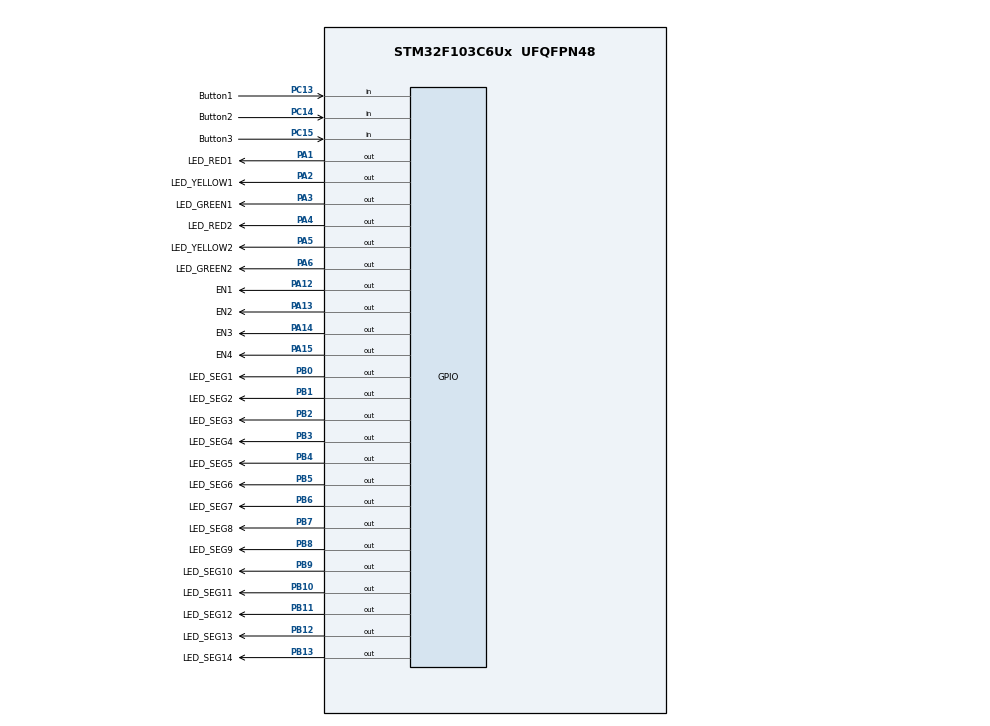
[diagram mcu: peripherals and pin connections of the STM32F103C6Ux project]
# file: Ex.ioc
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Mcu.Family=STM32F1
Mcu.Name=STM32F103C6Ux
Mcu.Package=UFQFPN48
NVIC.PriorityGroup=NVIC_PRIORITYGROUP_4
NVIC.TIM2_IRQn=true\:0\:0\:false\:false\:true\:true\:true
PA1.GPIO_Label=LED_RED1
PA1.Signal=GPIO_Output
PA12.GPIO_Label=EN1
PA12.Signal=GPIO_Output
PA13.GPIO_Label=EN2
PA13.Signal=GPIO_Output
PA14.GPIO_Label=EN3
PA14.Signal=GPIO_Output
PA15.GPIO_Label=EN4
PA15.Signal=GPIO_Output
PA2.GPIO_Label=LED_YELLOW1
PA2.Signal=GPIO_Output
PA3.GPIO_Label=LED_GREEN1
PA3.Signal=GPIO_Output
PA4.GPIO_Label=LED_RED2
PA4.Signal=GPIO_Output
PA5.GPIO_Label=LED_YELLOW2
PA5.Signal=GPIO_Output
PA6.GPIO_Label=LED_GREEN2
PA6.Signal=GPIO_Output
PB0.GPIO_Label=LED_SEG1
PB0.Signal=GPIO_Output
PB1.GPIO_Label=LED_SEG2
PB1.Signal=GPIO_Output
PB10.GPIO_Label=LED_SEG11
PB10.Signal=GPIO_Output
PB11.GPIO_Label=LED_SEG12
PB11.Signal=GPIO_Output
PB12.GPIO_Label=LED_SEG13
PB12.Signal=GPIO_Output
PB13.GPIO_Label=LED_SEG14
PB13.Signal=GPIO_Output
PB2.GPIO_Label=LED_SEG3
PB2.Signal=GPIO_Output
PB3.GPIO_Label=LED_SEG4
PB3.Signal=GPIO_Output
PB4.GPIO_Label=LED_SEG5
PB4.Signal=GPIO_Output
PB5.GPIO_Label=LED_SEG6
PB5.Signal=GPIO_Output
PB6.GPIO_Label=LED_SEG7
PB6.Signal=GPIO_Output
PB7.GPIO_Label=LED_SEG8
PB7.Signal=GPIO_Output
PB8.GPIO_Label=LED_SEG9
PB8.Signal=GPIO_Output
PB9.GPIO_Label=LED_SEG10
PB9.Signal=GPIO_Output
PC13-TAMPER-RTC.GPIO_Label=Button1
PC13-TAMPER-RTC.GPIO_PuPd=GPIO_PULLUP
PC13-TAMPER-RTC.Signal=GPIO_Input
PC14-OSC32_IN.GPIO_Label=Button2
PC14-OSC32_IN.GPIO_PuPd=GPIO_PULLUP
PC14-OSC32_IN.Signal=GPIO_Input
PC15-OSC32_OUT.GPIO_Label=Button3
PC15-OSC32_OUT.GPIO_PuPd=GPIO_PULLUP
PC15-OSC32_OUT.Signal=GPIO_Input
ProjectManager.HeapSize=0x200
ProjectManager.StackSize=0x400
ProjectManager.TargetToolchain=STM32CubeIDE
RCC.APB1Freq_Value=8000000
RCC.APB2Freq_Value=8000000
TIM2.Period=9
TIM2.Prescaler=7999
VP_SYS_VS_ND.Mode=No_Debug
VP_TIM2_VS_ClockSourceINT.Mode=Internal
board=custom

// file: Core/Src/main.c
/* USER CODE BEGIN Header */
/**
  ******************************************************************************
  * @file           : main.c
  * @brief          : Main program body
  ******************************************************************************
  * @attention
  *
  * <h2><center>&copy; Copyright (c) 2022 STMicroelectronics.
  * All rights reserved.</center></h2>
  *
  * This software component is licensed by ST under BSD 3-Clause license,
  * the "License"; You may not use this file except in compliance with the
  * License. You may obtain a copy of the License at:
  *                        opensource.org/licenses/BSD-3-Clause
  *
  ******************************************************************************
  */
/* USER CODE END Header */
#include "main.h"

/* USER CODE BEGIN Includes */
#include "button.h"
#include "timer.h"
#include "fsm_automatic.h"
#include "mode_1.h"
#include "mode_2.h"
#include "global.h"
/* USER CODE END Includes */

TIM_HandleTypeDef htim2;

void SystemClock_Config(void);
static void MX_GPIO_Init(void);
static void MX_TIM2_Init(void);

/* USER CODE BEGIN 0 */
void display7SEG_1(int num){
	if(num==0){
		HAL_GPIO_WritePin(LED_SEG1_GPIO_Port, LED_SEG1_Pin, 0);
		HAL_GPIO_WritePin(LED_SEG2_GPIO_Port, LED_SEG2_Pin, 0);
		HAL_GPIO_WritePin(LED_SEG3_GPIO_Port, LED_SEG3_Pin, 0);
		HAL_GPIO_WritePin(LED_SEG4_GPIO_Port, LED_SEG4_Pin, 0);
		HAL_GPIO_WritePin(LED_SEG5_GPIO_Port, LED_SEG5_Pin, 0);
		HAL_GPIO_WritePin(LED_SEG6_GPIO_Port, LED_SEG6_Pin, 0);
		HAL_GPIO_WritePin(LED_SEG7_GPIO_Port, LED_SEG7_Pin, 1);
	}
	if(num==1){
		HAL_GPIO_WritePin(LED_SEG1_GPIO_Port, LED_SEG1_Pin, 1);
		HAL_GPIO_WritePin(LED_SEG2_GPIO_Port, LED_SEG2_Pin, 0);
		HAL_GPIO_WritePin(LED_SEG3_GPIO_Port, LED_SEG3_Pin, 0);
		HAL_GPIO_WritePin(LED_SEG4_GPIO_Port, LED_SEG4_Pin, 1);
		HAL_GPIO_WritePin(LED_SEG5_GPIO_Port, LED_SEG5_Pin, 1);
		HAL_GPIO_WritePin(LED_SEG6_GPIO_Port, LED_SEG6_Pin, 1);
		HAL_GPIO_WritePin(LED_SEG7_GPIO_Port, LED_SEG7_Pin, 1);
	}
	if(num==2){
		HAL_GPIO_WritePin(LED_SEG1_GPIO_Port, LED_SEG1_Pin, 0);
		HAL_GPIO_WritePin(LED_SEG2_GPIO_Port, LED_SEG2_Pin, 0);
		HAL_GPIO_WritePin(LED_SEG3_GPIO_Port, LED_SEG3_Pin, 1);
		HAL_GPIO_WritePin(LED_SEG4_GPIO_Port, LED_SEG4_Pin, 0);
		HAL_GPIO_WritePin(LED_SEG5_GPIO_Port, LED_SEG5_Pin, 0);
		HAL_GPIO_WritePin(LED_SEG6_GPIO_Port, LED_SEG6_Pin, 1);
		HAL_GPIO_WritePin(LED_SEG7_GPIO_Port, LED_SEG7_Pin, 0);
	}
	if(num==3){
		HAL_GPIO_WritePin(LED_SEG1_GPIO_Port, LED_SEG1_Pin, 0);
		HAL_GPIO_WritePin(LED_SEG2_GPIO_Port, LED_SEG2_Pin, 0);
		HAL_GPIO_WritePin(LED_SEG3_GPIO_Port, LED_SEG3_Pin, 0);
		HAL_GPIO_WritePin(LED_SEG4_GPIO_Port, LED_SEG4_Pin, 0);
		HAL_GPIO_WritePin(LED_SEG5_GPIO_Port, LED_SEG5_Pin, 1);
		HAL_GPIO_WritePin(LED_SEG6_GPIO_Port, LED_SEG6_Pin, 1);
		HAL_GPIO_WritePin(LED_SEG7_GPIO_Port, LED_SEG7_Pin, 0);
	}
	if(num==4){
		HAL_GPIO_WritePin(LED_SEG1_GPIO_Port, LED_SEG1_Pin, 1);
		HAL_GPIO_WritePin(LED_SEG2_GPIO_Port, LED_SEG2_Pin, 0);
		HAL_GPIO_WritePin(LED_SEG3_GPIO_Port, LED_SEG3_Pin, 0);
		HAL_GPIO_WritePin(LED_SEG4_GPIO_Port, LED_SEG4_Pin, 1);
		HAL_GPIO_WritePin(LED_SEG5_GPIO_Port, LED_SEG5_Pin, 1);
		HAL_GPIO_WritePin(LED_SEG6_GPIO_Port, LED_SEG6_Pin, 0);
		HAL_GPIO_WritePin(LED_SEG7_GPIO_Port, LED_SEG7_Pin, 0);
	}
	if(num==5){
		HAL_GPIO_WritePin(LED_SEG1_GPIO_Port, LED_SEG1_Pin, 0);
		HAL_GPIO_WritePin(LED_SEG2_GPIO_Port, LED_SEG2_Pin, 1);
		HAL_GPIO_WritePin(LED_SEG3_GPIO_Port, LED_SEG3_Pin, 0);
		HAL_GPIO_WritePin(LED_SEG4_GPIO_Port, LED_SEG4_Pin, 0);
		HAL_GPIO_WritePin(LED_SEG5_GPIO_Port, LED_SEG5_Pin, 1);
		HAL_GPIO_WritePin(LED_SEG6_GPIO_Port, LED_SEG6_Pin, 0);
		HAL_GPIO_WritePin(LED_SEG7_GPIO_Port, LED_SEG7_Pin, 0);
	}
	if(num==6){
		HAL_GPIO_WritePin(LED_SEG1_GPIO_Port, LED_SEG1_Pin, 0);
		HAL_GPIO_WritePin(LED_SEG2_GPIO_Port, LED_SEG2_Pin, 1);
		HAL_GPIO_WritePin(LED_SEG3_GPIO_Port, LED_SEG3_Pin, 0);
		HAL_GPIO_WritePin(LED_SEG4_GPIO_Port, LED_SEG4_Pin, 0);
		HAL_GPIO_WritePin(LED_SEG5_GPIO_Port, LED_SEG5_Pin, 0);
		HAL_GPIO_WritePin(LED_SEG6_GPIO_Port, LED_SEG6_Pin, 0);
		HAL_GPIO_WritePin(LED_SEG7_GPIO_Port, LED_SEG7_Pin, 0);
	}
	if(num==7){
		HAL_GPIO_WritePin(LED_SEG1_GPIO_Port, LED_SEG1_Pin, 0);
		HAL_GPIO_WritePin(LED_SEG2_GPIO_Port, LED_SEG2_Pin, 0);
		HAL_GPIO_WritePin(LED_SEG3_GPIO_Port, LED_SEG3_Pin, 0);
		HAL_GPIO_WritePin(LED_SEG4_GPIO_Port, LED_SEG4_Pin, 1);
		HAL_GPIO_WritePin(LED_SEG5_GPIO_Port, LED_SEG5_Pin, 1);
		HAL_GPIO_WritePin(LED_SEG6_GPIO_Port, LED_SEG6_Pin, 1);
		HAL_GPIO_WritePin(LED_SEG7_GPIO_Port, LED_SEG7_Pin, 1);
	}
	if(num==8){
		HAL_GPIO_WritePin(LED_SEG1_GPIO_Port, LED_SEG1_Pin, 0);
		HAL_GPIO_WritePin(LED_SEG2_GPIO_Port, LED_SEG2_Pin, 0);
		HAL_GPIO_WritePin(LED_SEG3_GPIO_Port, LED_SEG3_Pin, 0);
		HAL_GPIO_WritePin(LED_SEG4_GPIO_Port, LED_SEG4_Pin, 0);
		HAL_GPIO_WritePin(LED_SEG5_GPIO_Port, LED_SEG5_Pin, 0);
		HAL_GPIO_WritePin(LED_SEG6_GPIO_Port, LED_SEG6_Pin, 0);
		HAL_GPIO_WritePin(LED_SEG7_GPIO_Port, LED_SEG7_Pin, 0);
	}
	if(num==9){
		HAL_GPIO_WritePin(LED_SEG1_GPIO_Port, LED_SEG1_Pin, 0);
		HAL_GPIO_WritePin(LED_SEG2_GPIO_Port, LED_SEG2_Pin, 0);
		HAL_GPIO_WritePin(LED_SEG3_GPIO_Port, LED_SEG3_Pin, 0);
		HAL_GPIO_WritePin(LED_SEG4_GPIO_Port, LED_SEG4_Pin, 0);
		HAL_GPIO_WritePin(LED_SEG5_GPIO_Port, LED_SEG5_Pin, 1);
		HAL_GPIO_WritePin(LED_SEG6_GPIO_Port, LED_SEG6_Pin, 0);
		HAL_GPIO_WritePin(LED_SEG7_GPIO_Port, LED_SEG7_Pin, 0);
	}
}
void display7SEG_2(int num){
	if(num==0){
		HAL_GPIO_WritePin(LED_SEG8_GPIO_Port, LED_SEG8_Pin, 0);
		HAL_GPIO_WritePin(LED_SEG9_GPIO_Port, LED_SEG9_Pin, 0);
		HAL_GPIO_WritePin(LED_SEG10_GPIO_Port, LED_SEG10_Pin, 0);
		HAL_GPIO_WritePin(LED_SEG11_GPIO_Port, LED_SEG11_Pin, 0);
		HAL_GPIO_WritePin(LED_SEG12_GPIO_Port, LED_SEG12_Pin, 0);
		HAL_GPIO_WritePin(LED_SEG13_GPIO_Port, LED_SEG13_Pin, 0);
		HAL_GPIO_WritePin(LED_SEG14_GPIO_Port, LED_SEG14_Pin, 1);
	}
	if(num==1){
		HAL_GPIO_WritePin(LED_SEG8_GPIO_Port, LED_SEG8_Pin, 1);
		HAL_GPIO_WritePin(LED_SEG9_GPIO_Port, LED_SEG9_Pin, 0);
		HAL_GPIO_WritePin(LED_SEG10_GPIO_Port, LED_SEG10_Pin, 0);
		HAL_GPIO_WritePin(LED_SEG11_GPIO_Port, LED_SEG11_Pin, 1);
		HAL_GPIO_WritePin(LED_SEG12_GPIO_Port, LED_SEG12_Pin, 1);
		HAL_GPIO_WritePin(LED_SEG13_GPIO_Port, LED_SEG13_Pin, 1);
		HAL_GPIO_WritePin(LED_SEG14_GPIO_Port, LED_SEG14_Pin, 1);
	}
	if(num==2){
		HAL_GPIO_WritePin(LED_SEG8_GPIO_Port, LED_SEG8_Pin, 0);
		HAL_GPIO_WritePin(LED_SEG9_GPIO_Port, LED_SEG9_Pin, 0);
		HAL_GPIO_WritePin(LED_SEG10_GPIO_Port, LED_SEG10_Pin, 1);
		HAL_GPIO_WritePin(LED_SEG11_GPIO_Port, LED_SEG11_Pin, 0);
		HAL_GPIO_WritePin(LED_SEG12_GPIO_Port, LED_SEG12_Pin, 0);
		HAL_GPIO_WritePin(LED_SEG13_GPIO_Port, LED_SEG13_Pin, 1);
		HAL_GPIO_WritePin(LED_SEG14_GPIO_Port, LED_SEG14_Pin, 0);
	}
	if(num==3){
		HAL_GPIO_WritePin(LED_SEG8_GPIO_Port, LED_SEG8_Pin, 0);
		HAL_GPIO_WritePin(LED_SEG9_GPIO_Port, LED_SEG9_Pin, 0);
		HAL_GPIO_WritePin(LED_SEG10_GPIO_Port, LED_SEG10_Pin, 0);
		HAL_GPIO_WritePin(LED_SEG11_GPIO_Port, LED_SEG11_Pin, 0);
		HAL_GPIO_WritePin(LED_SEG12_GPIO_Port, LED_SEG12_Pin, 1);
		HAL_GPIO_WritePin(LED_SEG13_GPIO_Port, LED_SEG13_Pin, 1);
		HAL_GPIO_WritePin(LED_SEG14_GPIO_Port, LED_SEG14_Pin, 0);
	}
	if(num==4){
		HAL_GPIO_WritePin(LED_SEG8_GPIO_Port, LED_SEG8_Pin, 1);
		HAL_GPIO_WritePin(LED_SEG9_GPIO_Port, LED_SEG9_Pin, 0);
		HAL_GPIO_WritePin(LED_SEG10_GPIO_Port, LED_SEG10_Pin, 0);
		HAL_GPIO_WritePin(LED_SEG11_GPIO_Port, LED_SEG11_Pin, 1);
		HAL_GPIO_WritePin(LED_SEG12_GPIO_Port, LED_SEG12_Pin, 1);
		HAL_GPIO_WritePin(LED_SEG13_GPIO_Port, LED_SEG13_Pin, 0);
		HAL_GPIO_WritePin(LED_SEG14_GPIO_Port, LED_SEG14_Pin, 0);
	}
	if(num==5){
		HAL_GPIO_WritePin(LED_SEG8_GPIO_Port, LED_SEG8_Pin, 0);
		HAL_GPIO_WritePin(LED_SEG9_GPIO_Port, LED_SEG9_Pin, 1);
		HAL_GPIO_WritePin(LED_SEG10_GPIO_Port, LED_SEG10_Pin, 0);
		HAL_GPIO_WritePin(LED_SEG11_GPIO_Port, LED_SEG11_Pin, 0);
		HAL_GPIO_WritePin(LED_SEG12_GPIO_Port, LED_SEG12_Pin, 1);
		HAL_GPIO_WritePin(LED_SEG13_GPIO_Port, LED_SEG13_Pin, 0);
		HAL_GPIO_WritePin(LED_SEG14_GPIO_Port, LED_SEG14_Pin, 0);
	}
	if(num==6){
		HAL_GPIO_WritePin(LED_SEG8_GPIO_Port, LED_SEG8_Pin, 0);
		HAL_GPIO_WritePin(LED_SEG9_GPIO_Port, LED_SEG9_Pin, 1);
		HAL_GPIO_WritePin(LED_SEG10_GPIO_Port, LED_SEG10_Pin, 0);
		HAL_GPIO_WritePin(LED_SEG11_GPIO_Port, LED_SEG11_Pin, 0);
		HAL_GPIO_WritePin(LED_SEG12_GPIO_Port, LED_SEG12_Pin, 0);
		HAL_GPIO_WritePin(LED_SEG13_GPIO_Port, LED_SEG13_Pin, 0);
		HAL_GPIO_WritePin(LED_SEG14_GPIO_Port, LED_SEG14_Pin, 0);
	}
	if(num==7){
		HAL_GPIO_WritePin(LED_SEG8_GPIO_Port, LED_SEG8_Pin, 0);
		HAL_GPIO_WritePin(LED_SEG9_GPIO_Port, LED_SEG9_Pin, 0);
		HAL_GPIO_WritePin(LED_SEG10_GPIO_Port, LED_SEG10_Pin, 0);
		HAL_GPIO_WritePin(LED_SEG11_GPIO_Port, LED_SEG11_Pin, 1);
		HAL_GPIO_WritePin(LED_SEG12_GPIO_Port, LED_SEG12_Pin, 1);
		HAL_GPIO_WritePin(LED_SEG13_GPIO_Port, LED_SEG13_Pin, 1);
		HAL_GPIO_WritePin(LED_SEG14_GPIO_Port, LED_SEG14_Pin, 1);
	}
	if(num==8){
		HAL_GPIO_WritePin(LED_SEG8_GPIO_Port, LED_SEG8_Pin, 0);
		HAL_GPIO_WritePin(LED_SEG9_GPIO_Port, LED_SEG9_Pin, 0);
		HAL_GPIO_WritePin(LED_SEG10_GPIO_Port, LED_SEG10_Pin, 0);
		HAL_GPIO_WritePin(LED_SEG11_GPIO_Port, LED_SEG11_Pin, 0);
		HAL_GPIO_WritePin(LED_SEG12_GPIO_Port, LED_SEG12_Pin, 0);
		HAL_GPIO_WritePin(LED_SEG13_GPIO_Port, LED_SEG13_Pin, 0);
		HAL_GPIO_WritePin(LED_SEG14_GPIO_Port, LED_SEG14_Pin, 0);
	}
	if(num==9){
		HAL_GPIO_WritePin(LED_SEG8_GPIO_Port, LED_SEG8_Pin, 0);
		HAL_GPIO_WritePin(LED_SEG9_GPIO_Port, LED_SEG9_Pin, 0);
		HAL_GPIO_WritePin(LED_SEG10_GPIO_Port, LED_SEG10_Pin, 0);
		HAL_GPIO_WritePin(LED_SEG11_GPIO_Port, LED_SEG11_Pin, 0);
		HAL_GPIO_WritePin(LED_SEG12_GPIO_Port, LED_SEG12_Pin, 1);
		HAL_GPIO_WritePin(LED_SEG13_GPIO_Port, LED_SEG13_Pin, 0);
		HAL_GPIO_WritePin(LED_SEG14_GPIO_Port, LED_SEG14_Pin, 0);
	}
}

/* USER CODE END 0 */

int main(void)
{

  /* MCU Configuration--------------------------------------------------------*/

  /* Reset of all peripherals, Initializes the Flash interface and the Systick. */
  HAL_Init();

  /* Configure the system clock */
  SystemClock_Config();

  /* Initialize all configured peripherals */
  MX_GPIO_Init();
  MX_TIM2_Init();
  /* USER CODE BEGIN 2 */
  HAL_TIM_Base_Start_IT(&htim2);
  /* USER CODE END 2 */

  /* Infinite loop */
  /* USER CODE BEGIN WHILE */
  while (1)
  {

		  mode_1();

    /* USER CODE END WHILE */

  }
}

void SystemClock_Config(void)
{
  RCC_OscInitTypeDef RCC_OscInitStruct = {0};
  RCC_ClkInitTypeDef RCC_ClkInitStruct = {0};

  /** Initializes the RCC Oscillators according to the specified parameters
  * in the RCC_OscInitTypeDef structure.
  */
  RCC_OscInitStruct.OscillatorType = RCC_OSCILLATORTYPE_HSI;
  RCC_OscInitStruct.HSIState = RCC_HSI_ON;
  RCC_OscInitStruct.HSICalibrationValue = RCC_HSICALIBRATION_DEFAULT;
  RCC_OscInitStruct.PLL.PLLState = RCC_PLL_NONE;
  if (HAL_RCC_OscConfig(&RCC_OscInitStruct) != HAL_OK)
  {
    Error_Handler();
  }
  /** Initializes the CPU, AHB and APB buses clocks
  */
  RCC_ClkInitStruct.ClockType = RCC_CLOCKTYPE_HCLK|RCC_CLOCKTYPE_SYSCLK
                              |RCC_CLOCKTYPE_PCLK1|RCC_CLOCKTYPE_PCLK2;
  RCC_ClkInitStruct.SYSCLKSource = RCC_SYSCLKSOURCE_HSI;
  RCC_ClkInitStruct.AHBCLKDivider = RCC_SYSCLK_DIV1;
  RCC_ClkInitStruct.APB1CLKDivider = RCC_HCLK_DIV1;
  RCC_ClkInitStruct.APB2CLKDivider = RCC_HCLK_DIV1;

  if (HAL_RCC_ClockConfig(&RCC_ClkInitStruct, FLASH_LATENCY_0) != HAL_OK)
  {
    Error_Handler();
  }
}

static void MX_TIM2_Init(void)
{

  TIM_ClockConfigTypeDef sClockSourceConfig = {0};
  TIM_MasterConfigTypeDef sMasterConfig = {0};

  htim2.Instance = TIM2;
  htim2.Init.Prescaler = 7999;
  htim2.Init.CounterMode = TIM_COUNTERMODE_UP;
  htim2.Init.Period = 9;
  htim2.Init.ClockDivision = TIM_CLOCKDIVISION_DIV1;
  htim2.Init.AutoReloadPreload = TIM_AUTORELOAD_PRELOAD_DISABLE;
  if (HAL_TIM_Base_Init(&htim2) != HAL_OK)
  {
    Error_Handler();
  }
  sClockSourceConfig.ClockSource = TIM_CLOCKSOURCE_INTERNAL;
  if (HAL_TIM_ConfigClockSource(&htim2, &sClockSourceConfig) != HAL_OK)
  {
    Error_Handler();
  }
  sMasterConfig.MasterOutputTrigger = TIM_TRGO_RESET;
  sMasterConfig.MasterSlaveMode = TIM_MASTERSLAVEMODE_DISABLE;
  if (HAL_TIMEx_MasterConfigSynchronization(&htim2, &sMasterConfig) != HAL_OK)
  {
    Error_Handler();
  }

}

static void MX_GPIO_Init(void)
{
  GPIO_InitTypeDef GPIO_InitStruct = {0};

  /* GPIO Ports Clock Enable */
  __HAL_RCC_GPIOC_CLK_ENABLE();
  __HAL_RCC_GPIOA_CLK_ENABLE();
  __HAL_RCC_GPIOB_CLK_ENABLE();

  /*Configure GPIO pin Output Level */
  HAL_GPIO_WritePin(GPIOA, LED_RED1_Pin|LED_YELLOW1_Pin|LED_GREEN1_Pin|LED_RED2_Pin
                          |LED_YELLOW2_Pin|LED_GREEN2_Pin|EN1_Pin|EN2_Pin
                          |EN3_Pin|EN4_Pin, GPIO_PIN_RESET);

  /*Configure GPIO pin Output Level */
  HAL_GPIO_WritePin(GPIOB, LED_SEG1_Pin|LED_SEG2_Pin|LED_SEG3_Pin|LED_SEG11_Pin
                          |LED_SEG12_Pin|LED_SEG13_Pin|LED_SEG14_Pin|LED_SEG4_Pin
                          |LED_SEG5_Pin|LED_SEG6_Pin|LED_SEG7_Pin|LED_SEG8_Pin
                          |LED_SEG9_Pin|LED_SEG10_Pin, GPIO_PIN_RESET);

  /*Configure GPIO pins : Button1_Pin Button2_Pin Button3_Pin */
  GPIO_InitStruct.Pin = Button1_Pin|Button2_Pin|Button3_Pin;
  GPIO_InitStruct.Mode = GPIO_MODE_INPUT;
  GPIO_InitStruct.Pull = GPIO_PULLUP;
  HAL_GPIO_Init(GPIOC, &GPIO_InitStruct);

  /*Configure GPIO pins : LED_RED1_Pin LED_YELLOW1_Pin LED_GREEN1_Pin LED_RED2_Pin
                           LED_YELLOW2_Pin LED_GREEN2_Pin EN1_Pin EN2_Pin
                           EN3_Pin EN4_Pin */
  GPIO_InitStruct.Pin = LED_RED1_Pin|LED_YELLOW1_Pin|LED_GREEN1_Pin|LED_RED2_Pin
                          |LED_YELLOW2_Pin|LED_GREEN2_Pin|EN1_Pin|EN2_Pin
                          |EN3_Pin|EN4_Pin;
  GPIO_InitStruct.Mode = GPIO_MODE_OUTPUT_PP;
  GPIO_InitStruct.Pull = GPIO_NOPULL;
  GPIO_InitStruct.Speed = GPIO_SPEED_FREQ_LOW;
  HAL_GPIO_Init(GPIOA, &GPIO_InitStruct);

  /*Configure GPIO pins : LED_SEG1_Pin LED_SEG2_Pin LED_SEG3_Pin LED_SEG11_Pin
                           LED_SEG12_Pin LED_SEG13_Pin LED_SEG14_Pin LED_SEG4_Pin
                           LED_SEG5_Pin LED_SEG6_Pin LED_SEG7_Pin LED_SEG8_Pin
                           LED_SEG9_Pin LED_SEG10_Pin */
  GPIO_InitStruct.Pin = LED_SEG1_Pin|LED_SEG2_Pin|LED_SEG3_Pin|LED_SEG11_Pin
                          |LED_SEG12_Pin|LED_SEG13_Pin|LED_SEG14_Pin|LED_SEG4_Pin
                          |LED_SEG5_Pin|LED_SEG6_Pin|LED_SEG7_Pin|LED_SEG8_Pin
                          |LED_SEG9_Pin|LED_SEG10_Pin;
  GPIO_InitStruct.Mode = GPIO_MODE_OUTPUT_PP;
  GPIO_InitStruct.Pull = GPIO_NOPULL;
  GPIO_InitStruct.Speed = GPIO_SPEED_FREQ_LOW;
  HAL_GPIO_Init(GPIOB, &GPIO_InitStruct);

}

/* USER CODE BEGIN 4 */
void HAL_TIM_PeriodElapsedCallback(TIM_HandleTypeDef *htim){
	timerRun();
	getkeyInput();
}
/* USER CODE END 4 */

void Error_Handler(void)
{
  __disable_irq();
  while (1)
  {
  }
}

/************************ (C) COPYRIGHT STMicroelectronics *****END OF FILE****/
